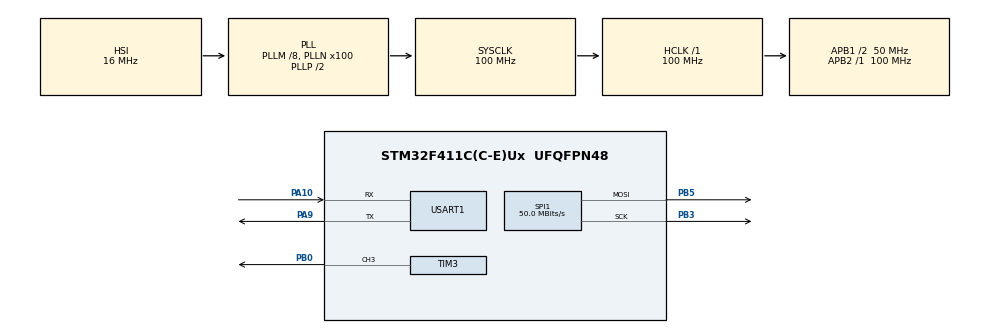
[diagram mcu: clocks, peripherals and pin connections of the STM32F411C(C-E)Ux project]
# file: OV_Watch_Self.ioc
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Dma.Request0=SPI1_TX
Dma.Request1=USART1_RX
Dma.Request2=USART1_TX
Dma.SPI1_TX.0.Direction=DMA_MEMORY_TO_PERIPH
Dma.SPI1_TX.0.FIFOMode=DMA_FIFOMODE_DISABLE
Dma.SPI1_TX.0.Instance=DMA2_Stream2
Dma.SPI1_TX.0.MemDataAlignment=DMA_MDATAALIGN_HALFWORD
Dma.SPI1_TX.0.MemInc=DMA_MINC_ENABLE
Dma.SPI1_TX.0.Mode=DMA_NORMAL
Dma.SPI1_TX.0.PeriphDataAlignment=DMA_PDATAALIGN_HALFWORD
Dma.SPI1_TX.0.PeriphInc=DMA_PINC_DISABLE
Dma.SPI1_TX.0.Priority=DMA_PRIORITY_LOW
Dma.USART1_RX.1.Direction=DMA_PERIPH_TO_MEMORY
Dma.USART1_RX.1.FIFOMode=DMA_FIFOMODE_DISABLE
Dma.USART1_RX.1.Instance=DMA2_Stream5
Dma.USART1_RX.1.MemDataAlignment=DMA_MDATAALIGN_BYTE
Dma.USART1_RX.1.MemInc=DMA_MINC_ENABLE
Dma.USART1_RX.1.Mode=DMA_NORMAL
Dma.USART1_RX.1.PeriphDataAlignment=DMA_PDATAALIGN_BYTE
Dma.USART1_RX.1.PeriphInc=DMA_PINC_DISABLE
Dma.USART1_RX.1.Priority=DMA_PRIORITY_LOW
Dma.USART1_TX.2.Direction=DMA_MEMORY_TO_PERIPH
Dma.USART1_TX.2.FIFOMode=DMA_FIFOMODE_DISABLE
Dma.USART1_TX.2.Instance=DMA2_Stream7
Dma.USART1_TX.2.MemDataAlignment=DMA_MDATAALIGN_BYTE
Dma.USART1_TX.2.MemInc=DMA_MINC_ENABLE
Dma.USART1_TX.2.Mode=DMA_NORMAL
Dma.USART1_TX.2.PeriphDataAlignment=DMA_PDATAALIGN_BYTE
Dma.USART1_TX.2.PeriphInc=DMA_PINC_DISABLE
Dma.USART1_TX.2.Priority=DMA_PRIORITY_LOW
FREERTOS.Tasks01=defaultTask,24,128,StartDefaultTask,Default,NULL,Dynamic,NULL,NULL
Mcu.Family=STM32F4
Mcu.Name=STM32F411C(C-E)Ux
Mcu.Package=UFQFPN48
NVIC.DMA2_Stream2_IRQn=true\:5\:0\:false\:false\:true\:true\:false\:true\:true
NVIC.DMA2_Stream5_IRQn=true\:5\:0\:false\:false\:true\:true\:false\:true\:true
NVIC.DMA2_Stream7_IRQn=true\:5\:0\:false\:false\:true\:true\:false\:true\:true
NVIC.PriorityGroup=NVIC_PRIORITYGROUP_4
NVIC.RTC_WKUP_IRQn=true\:5\:0\:false\:false\:true\:true\:true\:true\:true
NVIC.TIM1_UP_TIM10_IRQn=true\:15\:0\:false\:false\:true\:false\:false\:true\:true
NVIC.TimeBase=TIM1_UP_TIM10_IRQn
NVIC.TimeBaseIP=TIM1
NVIC.USART1_IRQn=true\:5\:0\:false\:false\:true\:true\:false\:true\:true
PA10.Mode=Asynchronous
PA10.Signal=USART1_RX
PA13.Mode=Serial_Wire
PA13.Signal=SYS_JTMS-SWDIO
PA14.Mode=Serial_Wire
PA14.Signal=SYS_JTCK-SWCLK
PA9.Mode=Asynchronous
PA9.Signal=USART1_TX
PB0.Signal=S_TIM3_CH3
PB3.Mode=TX_Only_Simplex_Unidirect_Master
PB3.Signal=SPI1_SCK
PB5.Mode=TX_Only_Simplex_Unidirect_Master
PB5.Signal=SPI1_MOSI
PC14-OSC32_IN.Mode=LSE-External-Oscillator
PC14-OSC32_IN.Signal=RCC_OSC32_IN
PC15-OSC32_OUT.Mode=LSE-External-Oscillator
PC15-OSC32_OUT.Signal=RCC_OSC32_OUT
ProjectManager.HeapSize=0x200
ProjectManager.StackSize=0x400
ProjectManager.TargetToolchain=MDK-ARM V5.32
RCC.48MHZClocksFreq_Value=50000000
RCC.AHBFreq_Value=100000000
RCC.APB1CLKDivider=RCC_HCLK_DIV2
RCC.APB1Freq_Value=50000000
RCC.APB1TimFreq_Value=100000000
RCC.APB2Freq_Value=100000000
RCC.APB2TimFreq_Value=100000000
RCC.CortexFreq_Value=100000000
RCC.HCLKFreq_Value=100000000
RCC.HSE_VALUE=25000000
RCC.HSI_VALUE=16000000
RCC.PLLM=8
RCC.PLLN=100
RCC.RCC_RTC_Clock_Source=RCC_RTCCLKSOURCE_LSE
RCC.RCC_RTC_Clock_SourceVirtual=RCC_RTCCLKSOURCE_LSE
RCC.SYSCLKFreq_VALUE=100000000
RCC.SYSCLKSource=RCC_SYSCLKSOURCE_PLLCLK
RCC.VCOOutputFreq_Value=200000000
RTC.Date=21
RTC.Hours=11
RTC.Minutes=59
RTC.Month=RTC_MONTH_MAY
RTC.Seconds=55
RTC.WeekDay=RTC_WEEKDAY_SUNDAY
RTC.Year=23
SH.S_TIM3_CH3.0=TIM3_CH3,PWM Generation3 CH3
SPI1.CLKPhase=SPI_PHASE_2EDGE
SPI1.CLKPolarity=SPI_POLARITY_HIGH
SPI1.CalculateBaudRate=50.0 MBits/s
SPI1.Direction=SPI_DIRECTION_2LINES
SPI1.Mode=SPI_MODE_MASTER
SPI1.VirtualType=VM_MASTER
TIM3.Channel-PWM\ Generation3\ CH3=TIM_CHANNEL_3
TIM3.Period=300
TIM3.Prescaler=99
USART1.VirtualMode=VM_ASYNC
VP_FREERTOS_VS_CMSIS_V2.Mode=CMSIS_V2
VP_RTC_VS_RTC_Activate.Mode=RTC_Enabled
VP_RTC_VS_RTC_Calendar.Mode=RTC_Calendar
VP_RTC_VS_RTC_WakeUp_intern.Mode=WakeUp
VP_SYS_VS_tim1.Mode=TIM1
board=custom

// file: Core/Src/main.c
/* USER CODE BEGIN Header */
/**
  ******************************************************************************
  * @file           : main.c
  * @brief          : Main program body
  ******************************************************************************
  * @attention
  *
  * Copyright (c) 2025 STMicroelectronics.
  * All rights reserved.
  *
  * This software is licensed under terms that can be found in the LICENSE file
  * in the root directory of this software component.
  * If no LICENSE file comes with this software, it is provided AS-IS.
  *
  ******************************************************************************
  */
/* USER CODE END Header */
#include "main.h"
#include "cmsis_os.h"
#include "dma.h"
#include "rtc.h"
#include "spi.h"
#include "tim.h"
#include "usart.h"
#include "gpio.h"

void SystemClock_Config(void);
void MX_FREERTOS_Init(void);

int main(void)
{

  /* MCU Configuration--------------------------------------------------------*/

  /* Reset of all peripherals, Initializes the Flash interface and the Systick. */
  HAL_Init();

  /* Configure the system clock */
  SystemClock_Config();

  /* Initialize all configured peripherals */
  MX_GPIO_Init();
  MX_DMA_Init();
  MX_RTC_Init();
  MX_SPI1_Init();
  MX_TIM3_Init();
  MX_USART1_UART_Init();

  /* Init scheduler */
  osKernelInitialize();

  /* Call init function for freertos objects (in cmsis_os2.c) */
  MX_FREERTOS_Init();

  /* Start scheduler */
  osKernelStart();

  /* We should never get here as control is now taken by the scheduler */

  /* Infinite loop */
  while (1)
  {

  }
}

void SystemClock_Config(void)
{
  RCC_OscInitTypeDef RCC_OscInitStruct = {0};
  RCC_ClkInitTypeDef RCC_ClkInitStruct = {0};

  /** Configure the main internal regulator output voltage
  */
  __HAL_RCC_PWR_CLK_ENABLE();
  __HAL_PWR_VOLTAGESCALING_CONFIG(PWR_REGULATOR_VOLTAGE_SCALE1);

  /** Initializes the RCC Oscillators according to the specified parameters
  * in the RCC_OscInitTypeDef structure.
  */
  RCC_OscInitStruct.OscillatorType = RCC_OSCILLATORTYPE_HSI|RCC_OSCILLATORTYPE_LSE;
  RCC_OscInitStruct.LSEState = RCC_LSE_ON;
  RCC_OscInitStruct.HSIState = RCC_HSI_ON;
  RCC_OscInitStruct.HSICalibrationValue = RCC_HSICALIBRATION_DEFAULT;
  RCC_OscInitStruct.PLL.PLLState = RCC_PLL_ON;
  RCC_OscInitStruct.PLL.PLLSource = RCC_PLLSOURCE_HSI;
  RCC_OscInitStruct.PLL.PLLM = 8;
  RCC_OscInitStruct.PLL.PLLN = 100;
  RCC_OscInitStruct.PLL.PLLP = RCC_PLLP_DIV2;
  RCC_OscInitStruct.PLL.PLLQ = 4;
  if (HAL_RCC_OscConfig(&RCC_OscInitStruct) != HAL_OK)
  {
    Error_Handler();
  }

  /** Initializes the CPU, AHB and APB buses clocks
  */
  RCC_ClkInitStruct.ClockType = RCC_CLOCKTYPE_HCLK|RCC_CLOCKTYPE_SYSCLK
                              |RCC_CLOCKTYPE_PCLK1|RCC_CLOCKTYPE_PCLK2;
  RCC_ClkInitStruct.SYSCLKSource = RCC_SYSCLKSOURCE_PLLCLK;
  RCC_ClkInitStruct.AHBCLKDivider = RCC_SYSCLK_DIV1;
  RCC_ClkInitStruct.APB1CLKDivider = RCC_HCLK_DIV2;
  RCC_ClkInitStruct.APB2CLKDivider = RCC_HCLK_DIV1;

  if (HAL_RCC_ClockConfig(&RCC_ClkInitStruct, FLASH_LATENCY_3) != HAL_OK)
  {
    Error_Handler();
  }
}

void HAL_TIM_PeriodElapsedCallback(TIM_HandleTypeDef *htim)
{
  if (htim->Instance == TIM1)
  {
    HAL_IncTick();
  }
}

void Error_Handler(void)
{
  __disable_irq();
  while (1)
  {
  }
}

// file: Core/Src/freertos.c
/* USER CODE BEGIN Header */
/**
  ******************************************************************************
  * File Name          : freertos.c
  * Description        : Code for freertos applications
  ******************************************************************************
  * @attention
  *
  * Copyright (c) 2025 STMicroelectronics.
  * All rights reserved.
  *
  * This software is licensed under terms that can be found in the LICENSE file
  * in the root directory of this software component.
  * If no LICENSE file comes with this software, it is provided AS-IS.
  *
  ******************************************************************************
  */
/* USER CODE END Header */

#include "FreeRTOS.h"
#include "task.h"
#include "main.h"
#include "cmsis_os.h"

/* USER CODE BEGIN Includes */
#include "delay.h"
#include "lcd.h"
#include "lcd_init.h"
#include "CST816.h"
#include "tim.h"
#include "lvgl.h"
#include "lv_port_disp.h"
#include "lv_port_indev.h"
#include "ui.h"
/* USER CODE END Includes */

/* USER CODE BEGIN PM */
uint32_t i=0;
/* USER CODE END PM */

/* USER CODE BEGIN Variables */

/*		初始化任务		*/
osThreadId_t HardwareInitTaskHandle;
const osThreadAttr_t HardwareInitTask_attributes = {
  .name = "HardwareInitTask",
  .stack_size = 128 * 10,
  .priority = (osPriority_t) osPriorityHigh3,
};

/*		UI刷新  任务		*/
osThreadId_t LVTaskHandle;
const osThreadAttr_t LVTask_attributes = {
  .name = "LVTask",
  .stack_size = 128 * 20,
  .priority = (osPriority_t) osPriorityLow,
};

/* USER CODE END Variables */
/* Definitions for defaultTask */
osThreadId_t defaultTaskHandle;
const osThreadAttr_t defaultTask_attributes = {
  .name = "defaultTask",
  .stack_size = 128 * 5,
  .priority = (osPriority_t) osPriorityNormal,
};

/* USER CODE BEGIN FunctionPrototypes */
void HardwareInitTask(void *argument);
void LVTask(void  *argument);
/* USER CODE END FunctionPrototypes */

void StartDefaultTask(void *argument);

void MX_FREERTOS_Init(void); /* (MISRA C 2004 rule 8.1) */

void MX_FREERTOS_Init(void) {

  /* Create the thread(s) */
  /* creation of defaultTask */
  defaultTaskHandle = osThreadNew(StartDefaultTask, NULL, &defaultTask_attributes);

  /* USER CODE BEGIN RTOS_THREADS */
  /* add threads, ... */
  HardwareInitTaskHandle  = osThreadNew(HardwareInitTask, NULL, &HardwareInitTask_attributes);
  LVTaskHandle  		  = osThreadNew(LVTask, NULL, &LVTask_attributes);
  /* USER CODE END RTOS_THREADS */

}

void StartDefaultTask(void *argument)
{
  /* USER CODE BEGIN StartDefaultTask */
  /* Infinite loop */
  for(;;)
  {
	  osDelay(500);
  }
  /* USER CODE END StartDefaultTask */
}

/* USER CODE BEGIN Application */
void HardwareInitTask(void *argument)
{
  for(;;)
  {
    vTaskSuspendAll();  // 暂停所有任务

    delay_init();

    HAL_TIM_PWM_Start(&htim3,TIM_CHANNEL_3);

    CST816_GPIO_Init();
    CST816_RESET();

    LCD_Init();
    LCD_Fill(0, 0, LCD_W, LCD_H, BLACK);
    LCD_Set_Light(50);  // 背光50%
    LCD_ShowString(72, LCD_H/2, "Welcome!", WHITE, BLACK, 24, 0);

	lv_init();                                          /* lvgl系统初始化 */
    lv_port_disp_init();                                /* lvgl显示接口初始化,放在lv_init()的后面 */
    lv_port_indev_init();                               /* lvgl输入接口初始化,放在lv_init()的后面 */

	xTaskResumeAll();
    vTaskDelete(NULL);  // 删除自身
    osDelay(500);
  }
}

void LVTask(void  *argument)
{
	ui_init();
	for(;;)
	{
		lv_timer_handler();
		osDelay(5);
	}
}

/* USER CODE END Application */
